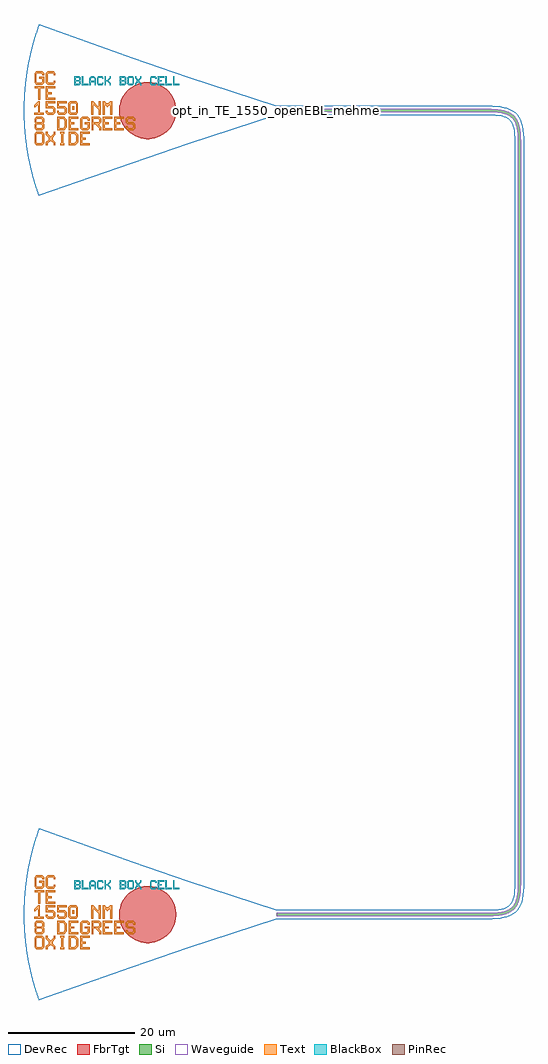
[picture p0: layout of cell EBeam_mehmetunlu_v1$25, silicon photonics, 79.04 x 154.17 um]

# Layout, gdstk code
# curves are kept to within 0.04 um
import gdstk
lib = gdstk.Library(unit=1e-6, precision=1e-09)
def R(c, l, rs):  # rectangles x0, y0, x1, y1
    for r in rs: c.add(gdstk.rectangle(r[:2], r[2:], *l))
def P(c, l, *ps):  # polygons
    for p in ps: c.add(gdstk.Polygon(p, *l))
Si = (1, 0)
PinRec = (1, 10)
Waveguide = (1, 99)
Text = (10, 0)
DevRec = (68, 0)
FbrTgt = (81, 0)
BlackBox = (998, 0)

text_1 = lib.new_cell('TEXT$1')
P(text_1, BlackBox, [(0,0),(0,1.4),(0.8,1.4),(1,1.2),(0.2,1.2),(0.2,0.8),(0.7,0.8),(0.8,0.9),(0.8,1.1),(0.7,1.2),(1,1.2),(1,0.8),(0.9,0.7),(1,0.6),(0.2,0.6),(0.2,0.2),(0.7,0.2),(0.8,0.3),(0.8,0.5),(0.7,0.6),(1,0.6),(1,0.2),(0.8,0)],
  [(1.2,0),(1.2,1.4),(1.4,1.4),(1.4,0.2),(2.2,0.2),(2.2,0)],
  [(2.4,0),(2.4,1.1),(2.7,1.4),(3.1,1.4),(3.3,1.2),(2.8,1.2),(2.6,1),(2.6,0.7),(3.2,0.7),(3.2,1),(3,1.2),(3.3,1.2),(3.4,1.1),(3.4,0),(3.2,0),(3.2,0.5),(2.6,0.5),(2.6,0)],
  [(3.8,0),(3.6,0.2),(3.6,1.2),(3.8,1.4),(4.4,1.4),(4.6,1.2),(4.6,1),(4.4,1),(4.4,1.1),(4.3,1.2),(3.9,1.2),(3.8,1.1),(3.8,0.3),(3.9,0.2),(4.3,0.2),(4.4,0.3),(4.4,0.4),(4.6,0.4),(4.6,0.2),(4.4,0)],
  [(4.8,0),(4.8,1.4),(5,1.4),(5,0.8),(5.2,0.8),(5.6,1.2),(5.6,1.4),(5.8,1.4),(5.8,1.1),(5.4,0.7),(5.8,0.3),(5.8,0),(5.6,0),(5.6,0.2),(5.2,0.6),(5,0.6),(5,0)],
  [(7.2,0),(7.2,1.4),(8,1.4),(8.2,1.2),(7.4,1.2),(7.4,0.8),(7.9,0.8),(8,0.9),(8,1.1),(7.9,1.2),(8.2,1.2),(8.2,0.8),(8.1,0.7),(8.2,0.6),(7.4,0.6),(7.4,0.2),(7.9,0.2),(8,0.3),(8,0.5),(7.9,0.6),(8.2,0.6),(8.2,0.2),(8,0)],
  [(8.6,0),(8.4,0.2),(8.4,1.2),(8.6,1.4),(9.2,1.4),(9.4,1.2),(9.4,0.7),(9.2,0.7),(9.2,1.1),(9.1,1.2),(8.7,1.2),(8.6,1.1),(8.6,0.3),(8.7,0.2),(9.1,0.2),(9.2,0.3),(9.2,0.7),(9.4,0.7),(9.4,0.2),(9.2,0)],
  [(9.6,0),(9.6,0.3),(9.9,0.6),(9.9,0.8),(9.6,1.1),(9.6,1.4),(9.8,1.4),(9.8,1.2),(10.1,0.9),(10.4,1.2),(10.4,1.4),(10.6,1.4),(10.6,1.1),(10.3,0.8),(10.3,0.6),(10.6,0.3),(10.6,0),(10.4,0),(10.4,0.2),(10.1,0.5),(9.8,0.2),(9.8,0)],
  [(12.2,0),(12,0.2),(12,1.2),(12.2,1.4),(12.8,1.4),(13,1.2),(13,1),(12.8,1),(12.8,1.1),(12.7,1.2),(12.3,1.2),(12.2,1.1),(12.2,0.3),(12.3,0.2),(12.7,0.2),(12.8,0.3),(12.8,0.4),(13,0.4),(13,0.2),(12.8,0)],
  [(13.2,0),(13.2,1.4),(14.2,1.4),(14.2,1.2),(13.4,1.2),(13.4,0.8),(13.8,0.8),(13.8,0.6),(13.4,0.6),(13.4,0.2),(14.2,0.2),(14.2,0)],
  [(14.4,0),(14.4,1.4),(14.6,1.4),(14.6,0.2),(15.4,0.2),(15.4,0)],
  [(15.6,0),(15.6,1.4),(15.8,1.4),(15.8,0.2),(16.6,0.2),(16.6,0)])

gc_te_1550_8degoxide_bb_ = lib.new_cell('GC_TE_1550_8degOxide_BB$1')
R(gc_te_1550_8degoxide_bb_, Text, [(-32.313,0.092,-32.013,0.692)])
P(gc_te_1550_8degoxide_bb_, Text, [(-37.67,1.71),(-37.67,3.51),(-38.27,3.51),(-38.27,3.81),(-36.77,3.81),(-36.77,3.51),(-37.37,3.51),(-37.37,1.71)],
  [(-37.97,-5.49),(-38.27,-5.19),(-38.27,-3.69),(-37.97,-3.39),(-37.07,-3.39),(-36.77,-3.69),(-36.77,-4.44),(-37.07,-4.44),(-37.07,-3.84),(-37.22,-3.69),(-37.82,-3.69),(-37.97,-3.84),(-37.97,-5.04),(-37.82,-5.19),(-37.22,-5.19),(-37.07,-5.04),(-37.07,-4.44),(-36.77,-4.44),(-36.77,-5.19),(-37.07,-5.49)],
  [(-31.07,-5.49),(-31.07,-3.39),(-29.57,-3.39),(-29.57,-3.69),(-30.77,-3.69),(-30.77,-4.29),(-30.17,-4.29),(-30.17,-4.59),(-30.77,-4.59),(-30.77,-5.19),(-29.57,-5.19),(-29.57,-5.49)],
  [(-32.87,-3.09),(-32.87,-0.99),(-31.37,-0.99),(-31.37,-1.29),(-32.57,-1.29),(-32.57,-1.89),(-31.97,-1.89),(-31.97,-2.19),(-32.57,-2.19),(-32.57,-2.79),(-31.37,-2.79),(-31.37,-3.09)],
  [(-27.47,-3.09),(-27.47,-0.99),(-25.97,-0.99),(-25.97,-1.29),(-27.17,-1.29),(-27.17,-1.89),(-26.57,-1.89),(-26.57,-2.19),(-27.17,-2.19),(-27.17,-2.79),(-25.97,-2.79),(-25.97,-3.09)],
  [(-25.67,-3.09),(-25.67,-0.99),(-24.17,-0.99),(-24.17,-1.29),(-25.37,-1.29),(-25.37,-1.89),(-24.77,-1.89),(-24.77,-2.19),(-25.37,-2.19),(-25.37,-2.79),(-24.17,-2.79),(-24.17,-3.09)],
  [(-36.47,1.71),(-36.47,3.81),(-34.97,3.81),(-34.97,3.51),(-36.17,3.51),(-36.17,2.91),(-35.57,2.91),(-35.57,2.61),(-36.17,2.61),(-36.17,2.01),(-34.97,2.01),(-34.97,1.71)],
  [(-29.313,-0.658),(-29.313,1.442),(-29.013,1.442),(-28.263,0.692),(-28.113,0.692),(-28.113,1.442),(-27.813,1.442),(-27.813,-0.658),(-28.113,-0.658),(-28.113,0.092),(-28.863,0.842),(-29.013,0.842),(-29.013,-0.658)],
  [(-34.22,-5.49),(-34.22,-5.19),(-34.07,-5.19),(-34.07,-3.69),(-34.22,-3.69),(-34.22,-3.39),(-33.62,-3.39),(-33.62,-3.69),(-33.77,-3.69),(-33.77,-5.19),(-33.62,-5.19),(-33.62,-5.49)],
  [(-36.17,4.11),(-36.47,4.41),(-36.47,5.91),(-36.17,6.21),(-35.27,6.21),(-34.97,5.91),(-34.97,5.61),(-35.27,5.61),(-35.27,5.76),(-35.42,5.91),(-36.02,5.91),(-36.17,5.76),(-36.17,4.56),(-36.02,4.41),(-35.42,4.41),(-35.27,4.56),(-35.27,4.71),(-34.97,4.71),(-34.97,4.41),(-35.27,4.11)],
  [(-27.513,-0.658),(-27.513,1.442),(-27.213,1.442),(-26.913,1.142),(-26.613,1.142),(-26.313,1.442),(-26.013,1.442),(-26.013,-0.658),(-26.313,-0.658),(-26.313,0.842),(-26.463,0.842),(-26.763,0.542),(-27.063,0.842),(-27.213,0.842),(-27.213,-0.658)],
  [(-32.613,-0.658),(-32.913,-0.358),(-32.913,1.142),(-32.613,1.442),(-31.713,1.442),(-31.413,1.142),(-32.463,1.142),(-32.613,0.992),(-32.613,-0.208),(-32.463,-0.358),(-31.863,-0.358),(-31.713,-0.208),(-31.713,0.992),(-31.863,1.142),(-31.413,1.142),(-31.413,-0.358),(-31.713,-0.658)],
  [(-32.87,-5.49),(-32.87,-3.39),(-31.82,-3.39),(-31.52,-3.69),(-32.57,-3.69),(-32.57,-5.19),(-31.97,-5.19),(-31.67,-4.89),(-31.67,-3.99),(-31.97,-3.69),(-31.52,-3.69),(-31.37,-3.84),(-31.37,-5.04),(-31.82,-5.49)],
  [(-34.67,-3.09),(-34.67,-0.99),(-33.62,-0.99),(-33.32,-1.29),(-34.37,-1.29),(-34.37,-2.79),(-33.77,-2.79),(-33.47,-2.49),(-33.47,-1.59),(-33.77,-1.29),(-33.32,-1.29),(-33.17,-1.44),(-33.17,-2.64),(-33.62,-3.09)],
  [(-23.57,-3.09),(-23.87,-2.79),(-23.87,-2.49),(-23.57,-2.49),(-23.57,-2.64),(-23.42,-2.79),(-22.82,-2.79),(-22.67,-2.64),(-22.67,-2.34),(-22.82,-2.19),(-23.57,-2.19),(-23.87,-1.89),(-23.87,-1.29),(-23.57,-0.99),(-22.67,-0.99),(-22.37,-1.29),(-22.37,-1.59),(-22.67,-1.59),(-22.67,-1.44),(-22.82,-1.29),(-23.42,-1.29),(-23.57,-1.44),(-23.57,-1.74),(-23.42,-1.89),(-22.67,-1.89),(-22.37,-2.19),(-22.37,-2.79),(-22.67,-3.09)],
  [(-36.213,-0.658),(-36.513,-0.358),(-36.513,-0.058),(-36.213,-0.058),(-36.213,-0.208),(-36.063,-0.358),(-35.463,-0.358),(-35.313,-0.208),(-35.313,0.242),(-35.463,0.392),(-36.513,0.392),(-36.513,1.442),(-35.013,1.442),(-35.013,1.142),(-36.213,1.142),(-36.213,0.692),(-35.313,0.692),(-35.013,0.392),(-35.013,-0.358),(-35.313,-0.658)],
  [(-34.413,-0.658),(-34.713,-0.358),(-34.713,-0.058),(-34.413,-0.058),(-34.413,-0.208),(-34.263,-0.358),(-33.663,-0.358),(-33.513,-0.208),(-33.513,0.242),(-33.663,0.392),(-34.713,0.392),(-34.713,1.442),(-33.213,1.442),(-33.213,1.142),(-34.413,1.142),(-34.413,0.692),(-33.513,0.692),(-33.213,0.392),(-33.213,-0.358),(-33.513,-0.658)],
  [(-37.97,-3.09),(-38.27,-2.79),(-38.27,-2.19),(-38.12,-2.04),(-38.27,-1.89),(-38.27,-1.29),(-37.97,-0.99),(-37.07,-0.99),(-36.77,-1.29),(-37.82,-1.29),(-37.97,-1.44),(-37.97,-1.74),(-37.82,-1.89),(-37.22,-1.89),(-37.07,-1.74),(-37.07,-1.44),(-37.22,-1.29),(-36.77,-1.29),(-36.77,-1.89),(-36.92,-2.04),(-36.77,-2.19),(-37.82,-2.19),(-37.97,-2.34),(-37.97,-2.64),(-37.82,-2.79),(-37.22,-2.79),(-37.07,-2.64),(-37.07,-2.34),(-37.22,-2.19),(-36.77,-2.19),(-36.77,-2.79),(-37.07,-3.09)],
  [(-38.313,-0.658),(-38.313,-0.358),(-37.713,-0.358),(-37.713,0.842),(-37.863,0.842),(-38.163,0.542),(-38.313,0.542),(-38.313,0.842),(-37.713,1.442),(-37.413,1.442),(-37.413,-0.358),(-36.813,-0.358),(-36.813,-0.658)],
  [(-36.47,-5.49),(-36.47,-5.04),(-36.02,-4.59),(-36.02,-4.29),(-36.47,-3.84),(-36.47,-3.39),(-36.17,-3.39),(-36.17,-3.69),(-35.72,-4.14),(-35.27,-3.69),(-35.27,-3.39),(-34.97,-3.39),(-34.97,-3.84),(-35.42,-4.29),(-35.42,-4.59),(-34.97,-5.04),(-34.97,-5.49),(-35.27,-5.49),(-35.27,-5.19),(-35.72,-4.74),(-36.17,-5.19),(-36.17,-5.49)],
  [(-30.77,-3.09),(-31.07,-2.79),(-31.07,-1.29),(-30.77,-0.99),(-29.87,-0.99),(-29.57,-1.29),(-29.57,-1.59),(-29.87,-1.59),(-29.87,-1.44),(-30.02,-1.29),(-30.62,-1.29),(-30.77,-1.44),(-30.77,-2.64),(-30.62,-2.79),(-30.02,-2.79),(-29.87,-2.64),(-29.87,-2.19),(-30.32,-2.19),(-30.32,-1.89),(-29.57,-1.89),(-29.57,-2.79),(-29.87,-3.09)],
  [(-37.97,4.11),(-38.27,4.41),(-38.27,5.91),(-37.97,6.21),(-37.07,6.21),(-36.77,5.91),(-36.77,5.61),(-37.07,5.61),(-37.07,5.76),(-37.22,5.91),(-37.82,5.91),(-37.97,5.76),(-37.97,4.56),(-37.82,4.41),(-37.22,4.41),(-37.07,4.56),(-37.07,5.01),(-37.52,5.01),(-37.52,5.31),(-36.77,5.31),(-36.77,4.41),(-37.07,4.11)],
  [(-29.27,-3.09),(-29.27,-0.99),(-28.07,-0.99),(-27.77,-1.29),(-28.97,-1.29),(-28.97,-1.89),(-28.22,-1.89),(-28.07,-1.74),(-28.07,-1.44),(-28.22,-1.29),(-27.77,-1.29),(-27.77,-1.89),(-28.07,-2.19),(-28.07,-2.34),(-27.77,-2.64),(-27.77,-3.09),(-28.07,-3.09),(-28.07,-2.79),(-28.67,-2.19),(-28.97,-2.19),(-28.97,-3.09)])
P(gc_te_1550_8degoxide_bb_, DevRec, [(-37.607,-13.5),(-38.627,-10.245),(-39.378,-6.832),(-39.647,-5.058),(-39.835,-3.274),(-39.969,0.224),(-39.812,3.541),(-39.331,7.097),(-38.557,10.505),(-37.546,13.669),(-22.8,8.353),(-14.109,5.36),(0,0.75),(0,-0.75),(-14.109,-5.36)])
P(gc_te_1550_8degoxide_bb_, FbrTgt, [(-20.621,-4.5),(-21.495,-4.37),(-22.326,-4.073),(-23.084,-3.619),(-23.738,-3.026),(-24.264,-2.316),(-24.642,-1.518),(-24.857,-0.661),(-24.9,0.221),(-24.77,1.095),(-24.473,1.926),(-24.019,2.684),(-23.426,3.338),(-22.716,3.864),(-21.918,4.242),(-21.061,4.457),(-20.179,4.5),(-19.305,4.37),(-18.474,4.073),(-17.716,3.619),(-17.062,3.026),(-16.536,2.316),(-16.158,1.518),(-15.943,0.661),(-15.9,-0.221),(-16.03,-1.095),(-16.327,-1.926),(-16.781,-2.684),(-17.374,-3.338),(-18.084,-3.864),(-18.882,-4.242),(-19.739,-4.457)])
gc_te_1550_8degoxide_bb_.add(gdstk.FlexPath([(-0.01,0),(0.01,0)], 0.5, ends="flush", simple_path=True, layer=1, datatype=10))  # PinRec
gc_te_1550_8degoxide_bb_.add(gdstk.Reference(text_1, (-32,4)))
gc_te_1550_8degoxide_bb_.add(gdstk.Label('opt1', (0,0), layer=1, texttype=10))
gc_te_1550_8degoxide_bb_.add(gdstk.Label('Component=GC_TE_1550_8degOxide_BB', (-28,-5), layer=68, texttype=0))

waveguide_3 = lib.new_cell('Waveguide$3')
P(waveguide_3, Si, [(-229.94,9.56),(-229.94,10.06),(-195.413,10.099),(-194.14,10.289),(-193.526,10.497),(-193.126,10.717),(-192.797,10.987),(-192.526,11.317),(-192.134,12.198),(-191.923,13.425),(-191.87,14.81),(-191.87,131.81),(-191.942,133.37),(-192.174,134.552),(-192.411,135.114),(-192.655,135.478),(-192.953,135.776),(-193.317,136.02),(-194.279,136.365),(-195.599,136.533),(-229.94,136.56),(-229.94,137.06),(-196.399,137.059),(-195.007,136.987),(-193.87,136.776),(-193.323,136.58),(-192.74,136.243),(-192.354,135.893),(-191.973,135.354),(-191.745,134.843),(-191.546,134.103),(-191.426,133.242),(-191.375,132.248),(-191.37,14.81),(-191.443,13.197),(-191.654,12.06),(-191.85,11.513),(-192.187,10.93),(-192.537,10.544),(-192.959,10.23),(-193.452,9.986),(-194.016,9.805),(-195.57,9.588)])
P(waveguide_3, Waveguide, [(-229.94,9.56),(-229.94,10.06),(-195.413,10.099),(-194.14,10.289),(-193.526,10.497),(-193.126,10.717),(-192.797,10.987),(-192.526,11.317),(-192.134,12.198),(-191.923,13.425),(-191.87,14.81),(-191.87,131.81),(-191.942,133.37),(-192.174,134.552),(-192.411,135.114),(-192.655,135.478),(-192.953,135.776),(-193.317,136.02),(-194.279,136.365),(-195.599,136.533),(-229.94,136.56),(-229.94,137.06),(-196.399,137.059),(-195.007,136.987),(-193.87,136.776),(-193.323,136.58),(-192.74,136.243),(-192.354,135.893),(-191.973,135.354),(-191.745,134.843),(-191.546,134.103),(-191.426,133.242),(-191.375,132.248),(-191.37,14.81),(-191.443,13.197),(-191.654,12.06),(-191.85,11.513),(-192.187,10.93),(-192.537,10.544),(-192.959,10.23),(-193.452,9.986),(-194.016,9.805),(-195.57,9.588)])
P(waveguide_3, DevRec, [(-229.94,9.06),(-229.94,10.56),(-196.62,10.56),(-194.875,10.658),(-193.724,10.956),(-193.244,11.253),(-192.905,11.652),(-192.645,12.235),(-192.467,13.066),(-192.37,14.81),(-192.37,131.81),(-192.468,133.555),(-192.646,134.386),(-192.766,134.706),(-193.063,135.186),(-193.245,135.368),(-193.725,135.665),(-194.876,135.963),(-195.971,136.05),(-229.94,136.06),(-229.94,137.56),(-196.62,137.56),(-194.668,137.449),(-193.593,137.215),(-192.67,136.799),(-192.271,136.508),(-191.632,135.761),(-191.398,135.32),(-191.08,134.32),(-190.881,132.512),(-190.87,14.81),(-190.981,12.858),(-191.215,11.783),(-191.631,10.86),(-191.922,10.461),(-192.669,9.822),(-193.592,9.406),(-194.11,9.27),(-195.269,9.107),(-196.607,9.06)])
waveguide_3.add(gdstk.FlexPath([(-229.93,136.81),(-229.95,136.81)], 0.5, ends="flush", simple_path=True, layer=1, datatype=10))  # PinRec
waveguide_3.add(gdstk.FlexPath([(-229.93,9.81),(-229.95,9.81)], 0.5, ends="flush", simple_path=True, layer=1, datatype=10))  # PinRec
waveguide_3.add(gdstk.Label('opt1', (-229.94,136.81), layer=1, texttype=10))
waveguide_3.add(gdstk.Label('opt2', (-229.94,9.81), layer=1, texttype=10))
waveguide_3.add(gdstk.Label('Lumerical_INTERCONNECT_library=Design kits/EBeam', (-229.94,136.71), layer=68, texttype=0))
waveguide_3.add(gdstk.Label('Component=ebeam_wg_integral_1550', (-229.94,136.91), layer=68, texttype=0))
waveguide_3.add(gdstk.Label('cellName=Waveguide', (-229.94,137.01), layer=68, texttype=0))
waveguide_3.add(gdstk.Label('Spice_param:wg_length=0.000200537 wg_width=5e-07 points="[[-229.94,136.81],[-191.62,136.81],[-191.62,9.81],[-229.94,9.81]]" radius=5e-06', (-229.94,136.81), layer=68, texttype=0))
waveguide_3.add(gdstk.Label('Length=200.537 (microns)', (-229.94,136.21), layer=68, texttype=0))
waveguide_3.add(gdstk.Label('waveguide_type=Strip TE 1550 nm, w=500 nm', (-229.94,136.61), layer=68, texttype=0))

ebeam_mehmetunlu_v1_25 = lib.new_cell('EBeam_mehmetunlu_v1$25')
r = gdstk.Reference(gc_te_1550_8degoxide_bb_, (-229.94,9.81)); r.repetition = gdstk.Repetition(1, 2, v1=(0,0), v2=(0,127)); ebeam_mehmetunlu_v1_25.add(r)
ebeam_mehmetunlu_v1_25.add(gdstk.Reference(waveguide_3, (0,0)))
ebeam_mehmetunlu_v1_25.add(gdstk.Label('opt_in_TE_1550_openEBL_mehmetunlu_Ddeneme11', (-229.94,136.81), layer=10, texttype=0))

lib.write_gds('EBeam_mehmetunlu_v1_25.gds')
